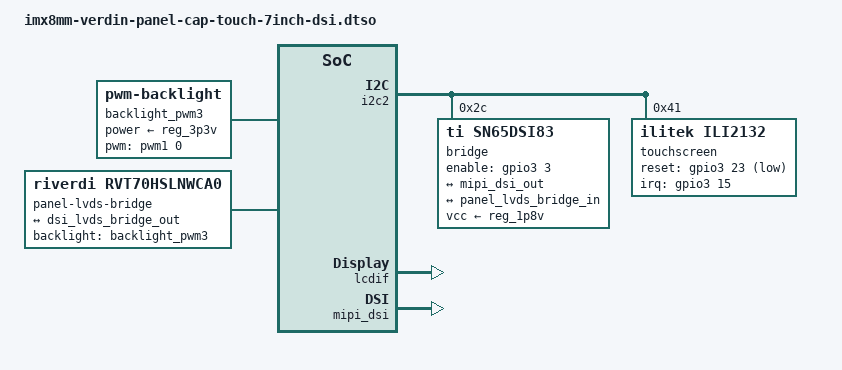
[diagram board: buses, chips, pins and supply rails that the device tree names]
// SPDX-License-Identifier: GPL-2.0-or-later OR MIT
/*
 * Copyright (c) Toradex
 *
 * Toradex Capacitive Touch Display 7" on Verdin DSI_1.
 * On Dahlia (X17) and Development Board (X48), DSI_1 is exposed via a
 * Samtec LSS-130 connector and requires the Toradex DSI Display Adapter
 * to convert to FFC/FPC connector.
 *
 * https://developer.toradex.com/hardware/accessories/displays/capacitive-touch-display-7inch-dsi
 * https://www.toradex.com/accessories/capacitive-touch-display-7-inch-dsi
 * https://developer.toradex.com/hardware/accessories/add-ons/dsi-display-adapter
 * https://www.toradex.com/accessories/verdin-dsi-display-adapter
 */

/dts-v1/;
/plugin/;

#include <dt-bindings/gpio/gpio.h>
#include <dt-bindings/interrupt-controller/irq.h>
#include <dt-bindings/pwm/pwm.h>

&{/} {
	backlight_pwm3: backlight-pwm3 {
		compatible = "pwm-backlight";
		brightness-levels = <0 45 63 88 119 158 203 255>;
		default-brightness-level = <4>;
		power-supply = <&reg_3p3v>;
		/* Verdin PWM_3_DSI (SODIMM 19) */
		pwms = <&pwm1 0 6666667 0>;
	};

	panel-lvds-bridge {
		compatible = "riverdi,rvt70hslnwca0", "panel-lvds";
		backlight = <&backlight_pwm3>;
		data-mapping = "vesa-24";
		height-mm = <86>;
		width-mm = <154>;

		panel-timing {
			clock-frequency = <51200000>;
			de-active = <1>;
			hactive = <1024>;
			hback-porch = <100 100 100>;
			hfront-porch = <16 160 216>;
			hsync-active = <0>;
			hsync-len = <50 60 140>;
			pixelclk-active = <1>;
			vactive = <600>;
			vback-porch = <23 23 23>;
			vfront-porch = <1 12 126>;
			vsync-active = <0>;
			vsync-len = <1 10 20>;
		};

		port {
			panel_lvds_bridge_in: endpoint {
				remote-endpoint = <&dsi_lvds_bridge_out>;
			};
		};
	};
};

/* Verdin I2C_2_DSI */
&i2c2 {
	#address-cells = <1>;
	#size-cells = <0>;

	status = "okay";

	bridge@2c {
		compatible = "ti,sn65dsi83";
		reg = <0x2c>;
		pinctrl-names = "default";
		pinctrl-0 = <&pinctrl_gpio_10_dsi>;
		/* Verdin GPIO_10_DSI (SODIMM 21) - DSI_1_BKL_EN */
		enable-gpios = <&gpio3 3 GPIO_ACTIVE_HIGH>;
		vcc-supply = <&reg_1p8v>;

		ports {
			#address-cells = <1>;
			#size-cells = <0>;

			port@0 {
				reg = <0>;

				dsi_lvds_bridge_in: endpoint {
					data-lanes = <1 2 3 4>;
					remote-endpoint = <&mipi_dsi_out>;
				};
			};

			port@2 {
				reg = <2>;

				dsi_lvds_bridge_out: endpoint {
					remote-endpoint = <&panel_lvds_bridge_in>;
				};
			};
		};
	};

	touchscreen@41 {
		compatible = "ilitek,ili2132";
		reg = <0x41>;
		pinctrl-names = "default";
		pinctrl-0 = <&pinctrl_gpio_9_dsi>, <&pinctrl_i2s_2_bclk_touch_reset>;
		/* Verdin GPIO_9_DSI (SODIMM 17) - TOUCH_INT# */
		/* Rising edge avoids spurious interrupts from the noisy falling edge. */
		interrupt-parent = <&gpio3>;
		interrupts = <15 IRQ_TYPE_EDGE_RISING>;
		/* Verdin I2S_2_BCLK (SODIMM 42) - TOUCH_RESET# */
		reset-gpios = <&gpio3 23 GPIO_ACTIVE_LOW>;
	};
};

&lcdif {
	status = "okay";
};

&mipi_dsi {
	samsung,esc-clock-frequency = <16000000>;

	status = "okay";
};

&mipi_dsi_out {
	remote-endpoint = <&dsi_lvds_bridge_in>;
};
